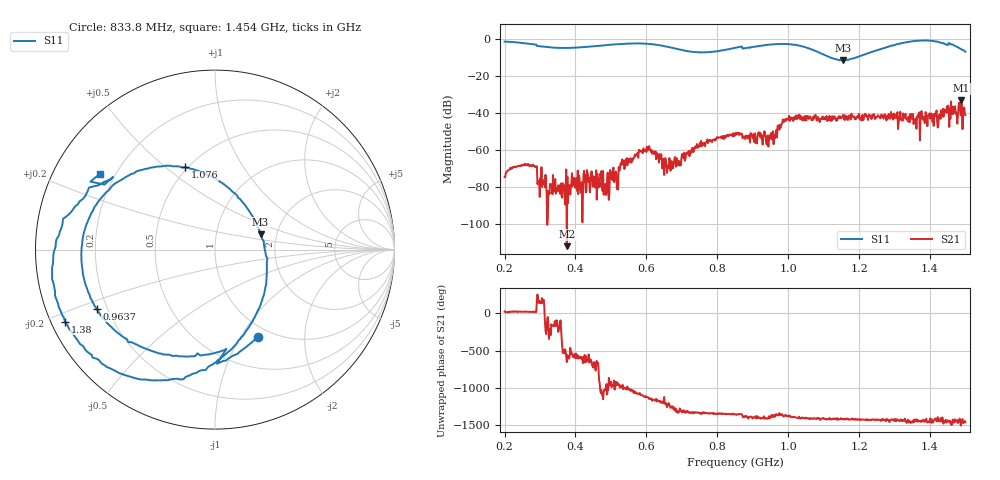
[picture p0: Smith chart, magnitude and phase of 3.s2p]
! NanoVNA-App
! Date: 2024-06-25 16:48:15
! Start: 200MHz Stop: 1.5GHz Points: 801
! S-Parameter data: F S11 S21 S12 S22
# Hz S RI R 50
!  Frequency  S11_Real  S11_Imag  S21_Real  S21_Imag  S12_Real  S12_Imag  S22_Real  S22_Imag
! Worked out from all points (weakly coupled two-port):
!   801 points, 200 MHz to 1.5 GHz, reference 50 ohm
!   highest |S21| = -33.22 dB at 1.489 GHz (marker M1); lowest = -112.3 dB at 375.5 MHz (marker M2)
!   lowest |S11| = -11.4 dB at 1.155 GHz (marker M3), VSWR 1.73, Z = 82.3 + j15.3 ohm
!   |S11| at or under -10 dB: 1.12 GHz to 1.19 GHz (70.28 MHz wide, 6.09 % of centre)
!   S12 and S22 are empty: the file has one direction only
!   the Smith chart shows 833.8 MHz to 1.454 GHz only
!   S11 on the Smith chart (normalised r, x): 833.8 MHz: 0.87, -1.19; 963.8 MHz: 0.16, -0.23; 1.076 GHz: 0.49, +0.59; 1.38 GHz: 0.04, -0.23; 1.454 GHz: 0.14, +0.30
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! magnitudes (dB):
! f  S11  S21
! 200 MHz  -1.3  -74.8
! 261.8 MHz  -2.3  -68.2
! 323.5 MHz  -4.3  -82.2
! 375.5 MHz  -4.7  -112.3
! 417.8 MHz  -4.3  -77.6
! 489.2 MHz  -3.1  -76.0
! 585.1 MHz  -2.3  -60.6
! 633.9 MHz  -3.1  -63.7
! 690.8 MHz  -5.5  -68.4
! 747.6 MHz  -7.1  -57.8
! 833.8 MHz  -5.3  -52.0
! 850 MHz  -4.7  -51.5
! 963.8 MHz  -2.6  -53.7
! 996.2 MHz  -2.6  -43.5
! 1.068 GHz  -5.6  -43.5
! 1.076 GHz  -6.2  -41.4
! 1.155 GHz  -11.4  -41.0
! 1.284 GHz  -4.0  -40.5
! 1.38 GHz  -0.7  -43.5
! 1.454 GHz  -2.3  -47.6
! 1.489 GHz  -5.4  -33.2
! 1.5 GHz  -6.8  -41.2
